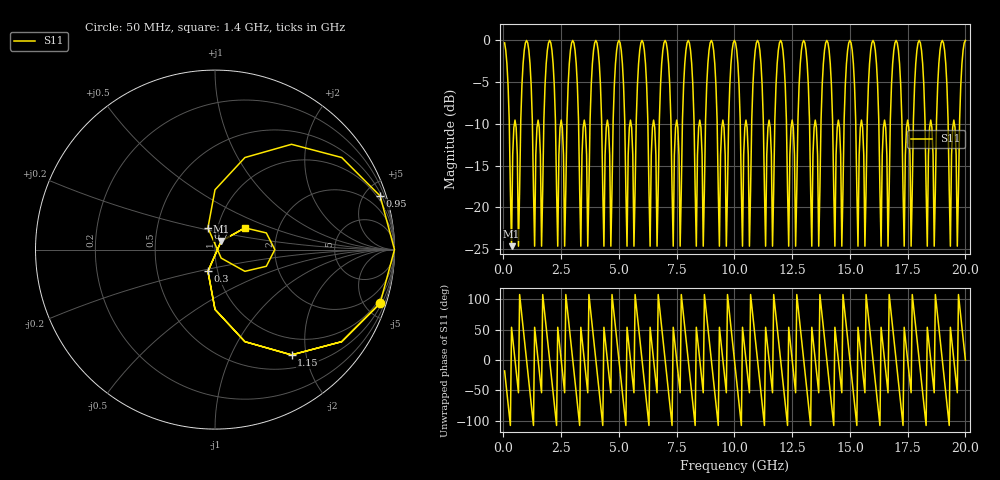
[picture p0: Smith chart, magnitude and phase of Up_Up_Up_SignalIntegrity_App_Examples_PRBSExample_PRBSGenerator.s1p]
! File created by SignalIntegrity v1.1.4: Signal and Power Integrity Tools
! https://github.com/TeledyneLeCroy/SignalIntegrity
# MHz MA S R 50.0
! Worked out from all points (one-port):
!   400 points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, 50 MHz to 20 GHz, reference 50 ohm
!   lowest |S11| = -24.7 dB at 350 MHz (marker M1), VSWR 1.12, Z = 53.3 + j5.07 ohm
!   |S11| at or under -10 dB: 252.7 MHz to 474.4 MHz (221.7 MHz wide, 61 % of centre); 525.6 MHz to 747.3 MHz (221.7 MHz wide, 34.8 % of centre); 1.253 GHz to 1.474 GHz (221.7 MHz wide, 16.3 % of centre)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
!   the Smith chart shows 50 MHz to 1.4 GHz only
!   S11 on the Smith chart (normalised r, x): 50 MHz: 0.67, -6.24; 300 MHz: 0.90, -0.22; 700 MHz: 0.90, +0.22; 950 MHz: 0.67, +6.24; 1.15 GHz: 0.70, -1.74; 1.4 GHz: 1.35, +0.34
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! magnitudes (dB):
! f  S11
! 50 MHz  -0.3
! 300 MHz  -17.9
! 350 MHz  -24.7
! 700 MHz  -17.9
! 950 MHz  -0.3
! 1.15 GHz  -2.8
! 1.4 GHz  -13.7
! 2.55 GHz  -10.4
! 4.65 GHz  -24.7
! 5.05 GHz  -0.3
! 5.35 GHz  -24.7
! 5.95 GHz  -0.3
! 6.35 GHz  -24.7
! 7.55 GHz  -10.4
! 9.65 GHz  -24.7
! 10.05 GHz  -0.3
! 10.35 GHz  -24.7
! 10.95 GHz  -0.3
! 11.35 GHz  -24.7
! 12.55 GHz  -10.4
! 14.65 GHz  -24.7
! 15.05 GHz  -0.3
! 15.35 GHz  -24.7
! 15.95 GHz  -0.3
! 16.35 GHz  -24.7
! 17.55 GHz  -10.4
! 19.65 GHz  -24.7
! 20 GHz  0.0
